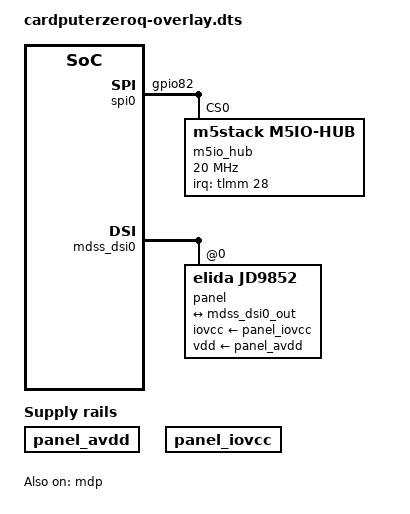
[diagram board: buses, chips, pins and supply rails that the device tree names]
/dts-v1/;
/plugin/;

#include <dt-bindings/gpio/gpio.h>
#include <dt-bindings/interrupt-controller/irq.h>

/ {
    fragment@0 {
        target = <&tlmm>;

        __overlay__ {
            qup_spi0_cs1_default_state: qup-spi0-cs1-default-state {
                pins = "gpio82";
                function = "gpio";
                drive-strength = <2>;
                bias-pull-up;
                output-high;
            };

            m5io_hub_irq_default_state: m5io-hub-irq-default-state {
                pins = "gpio28";
                function = "gpio";
                drive-strength = <2>;
                bias-pull-up;
                input-enable;
                output-disable;
            };

            tca8418_irq_default_state: tca8418-irq-default-state {
                /* SOC_GPIO_86_SE0 is a SoC GPIO, not an M5IO-HUB GPIO. */
                pins = "gpio86";
                function = "gpio";
                drive-strength = <2>;
                bias-pull-up;
                input-enable;
                output-disable;
            };
        };
    };

    fragment@1 {
        target = <&spi0>;

        __overlay__ {
            pinctrl-names = "default";
            pinctrl-0 = <&qup_spi0_default>,
                        <&qup_spi0_cs1_default_state>;
            num-cs = <2>;
            cs-gpios = <0>, <&tlmm 82 GPIO_ACTIVE_LOW>;
            #address-cells = <1>;
            #size-cells = <0>;
            status = "okay";

            /* The base DT already exposes SE0 CS0 as spidev@0.  Configure
             * that node in place so the overlay cannot create a second
             * device at SPI chip-select 0.
             */
            m5io_hub: spidev@0 {
                compatible = "m5stack,m5io-hub";
                reg = <0>;
                spi-max-frequency = <20000000>;
                spi-cs-setup-delay-ns = <10000>;
                spi-cs-inactive-delay-ns = <100000>;

                pinctrl-names = "default";
                pinctrl-0 = <&m5io_hub_irq_default_state>;
                interrupt-parent = <&tlmm>;
                interrupts = <28 IRQ_TYPE_LEVEL_LOW>;
                status = "okay";

                m5io_hub_gpio: gpio {
                    compatible = "m5stack,m5io-hub-gpio";
                    gpio-controller;
                    #gpio-cells = <2>;
                    interrupt-controller;
                    #interrupt-cells = <2>;
                    status = "okay";
                };

                /* CardputerZeroQ does not use the optional M5IO LED output. */
                m5io_hub_leds: leds {
                    compatible = "m5hub-gpio-leds";
                    status = "disabled";

                    grove-fun {
                        label = "grove_fun";
                        gpios = <&m5io_hub_gpio 1 GPIO_ACTIVE_HIGH>;
                        default-state = "off";
                    };
                };

                /* Enable these nodes when their transport drivers are ready. */
                m5io_hub_uart: serial {
                    compatible = "m5stack,m5io-hub-uart";
                    status = "disabled";
                };

                m5io_hub_i2c: i2c {
                    compatible = "m5stack,m5io-hub-i2c";
                    #address-cells = <1>;
                    #size-cells = <0>;
                    status = "okay";

                    m5io_i2c1: i2c@1 {
                        reg = <1>;
                        #address-cells = <1>;
                        #size-cells = <0>;
                        clock-frequency = <100000>;
                        status = "okay";

                        tca8418: keypad@34 {
                            compatible = "m5stack,tca8418c";
                            reg = <0x34>;
                            pinctrl-names = "default";
                            pinctrl-0 = <&tca8418_irq_default_state>;
                            interrupt-parent = <&tlmm>;
                            interrupts = <86 IRQ_TYPE_LEVEL_LOW>;
                            irq-gpios = <&tlmm 86 GPIO_ACTIVE_LOW>;
                            status = "okay";

                            keypad,num-rows = <5>;
                            keypad,num-columns = <10>;
                            sym-button-code = <0x43>;
                            fn-button-code = <0x42>;
                            shift-button-code = <0x41>;

                            /* This board has no TCA8418 LED indicators. */
                            /delete-property/ tables-sel-led-gpio;
                            /delete-property/ capslock-led-gpio;
                            /delete-property/ fn-led-gpio;
                            /delete-property/ tables-sel-led-mode;
                            /delete-property/ capslock-led-mode;
                            /delete-property/ fn-led-mode;

                            /* CardputerZero v5 keymaps. */
                            linux,keymap = <
                                0x04000001 /* KEY_ESC */
                                0x0409000f /* KEY_TAB */
                                0x04040002 /* KEY_1 */
                                0x00000003 /* KEY_2 */
                                0x00010004 /* KEY_3 */
                                0x00020005 /* KEY_4 */
                                0x00030006 /* KEY_5 */
                                0x00040007 /* KEY_6 */
                                0x00050008 /* KEY_7 */
                                0x00060009 /* KEY_8 */
                                0x0007000a /* KEY_9 */
                                0x0008000b /* KEY_0 */
                                0x0009000e /* KEY_BACKSPACE */
                                0x0403017f /* Sym */
                                0x01000010 /* KEY_Q */
                                0x01010011 /* KEY_W */
                                0x01020012 /* KEY_E */
                                0x01030013 /* KEY_R */
                                0x01040014 /* KEY_T */
                                0x01050015 /* KEY_Y */
                                0x01060016 /* KEY_U */
                                0x01070017 /* KEY_I */
                                0x01080018 /* KEY_O */
                                0x01090019 /* KEY_P */
                                0x0401002a /* KEY_LEFTSHIFT */
                                0x0200001e /* KEY_A */
                                0x0201001f /* KEY_S */
                                0x02020020 /* KEY_D */
                                0x02030021 /* KEY_F */
                                0x02040022 /* KEY_G */
                                0x02050023 /* KEY_H */
                                0x02060024 /* KEY_J */
                                0x02070025 /* KEY_K */
                                0x02080026 /* KEY_L */
                                0x0209001c /* KEY_ENTER */
                                0x04020185 /* Fn */
                                0x0300001d /* KEY_LEFTCTRL */
                                0x03010038 /* KEY_LEFTALT */
                                0x0302002c /* KEY_Z */
                                0x0303002d /* KEY_X */
                                0x0304002e /* KEY_C */
                                0x0305002f /* KEY_V */
                                0x03060030 /* KEY_B */
                                0x03070031 /* KEY_N */
                                0x03080032 /* KEY_M */
                                0x03090039 /* KEY_SPACE */
                            >;

                            linux,keymap1 = <
                                0x04000001 /* KEY_ESC */
                                0x0409000f /* KEY_TAB */
                                0x0404001a /* KEY_LEFTBRACE */
                                0x0000001b /* KEY_RIGHTBRACE */
                                0x00010027 /* KEY_SEMICOLON */
                                0x00020028 /* KEY_APOSTROPHE */
                                0x00030029 /* KEY_GRAVE */
                                0x0004002b /* KEY_BACKSLASH */
                                0x00050033 /* KEY_COMMA */
                                0x00060034 /* KEY_DOT */
                                0x00070035 /* KEY_SLASH */
                                0x0008005e /* KEY_MUHENKAN */
                                0x0009000e /* KEY_BACKSPACE */
                                0x0403017f /* Sym */
                                0x01000037 /* KEY_KPASTERISK */
                                0x01010045 /* KEY_NUMLOCK */
                                0x01020046 /* KEY_SCROLLLOCK */
                                0x01030047 /* KEY_KP7 */
                                0x01040048 /* KEY_KP8 */
                                0x01050049 /* KEY_KP9 */
                                0x0106004a /* KEY_KPMINUS */
                                0x0107004b /* KEY_KP4 */
                                0x0108004c /* KEY_KP5 */
                                0x0109004d /* KEY_KP6 */
                                0x0401004e /* KEY_KPPLUS */
                                0x0200004f /* KEY_KP1 */
                                0x02010050 /* KEY_KP2 */
                                0x02020051 /* KEY_KP3 */
                                0x02030000 /* F disabled */
                                0x02040052 /* KEY_KP0 */
                                0x02050053 /* KEY_KPDOT */
                                0x02060055 /* KEY_ZENKAKUHANKAKU */
                                0x02070056 /* KEY_102ND */
                                0x02080059 /* KEY_RO */
                                0x0209001c /* KEY_ENTER */
                                0x04020185 /* Fn */
                                0x0300001d /* KEY_LEFTCTRL */
                                0x03010038 /* KEY_LEFTALT */
                                0x03020000 /* Z disabled */
                                0x03030000 /* X disabled */
                                0x03040000 /* C disabled */
                                0x0305005a /* KEY_KATAKANA */
                                0x0306005b /* KEY_HIRAGANA */
                                0x0307005c /* KEY_HENKAN */
                                0x0308005d /* KEY_KATAKANAHIRAGANA */
                                0x03090039 /* KEY_SPACE */
                            >;

                            linux,keymap2 = <
                                0x04000001 /* KEY_ESC */
                                0x0409000f /* KEY_TAB */
                                0x0404003b /* KEY_F1 */
                                0x0000003c /* KEY_F2 */
                                0x0001003d /* KEY_F3 */
                                0x0002003e /* KEY_F4 */
                                0x0003003f /* KEY_F5 */
                                0x00040040 /* KEY_F6 */
                                0x00050041 /* KEY_F7 */
                                0x00060042 /* KEY_F8 */
                                0x00070043 /* KEY_F9 */
                                0x00080044 /* KEY_F10 */
                                0x0009006f /* KEY_DELETE */
                                0x0403017f /* Sym */
                                0x010000a4 /* KEY_PLAYPAUSE */
                                0x010100a5 /* KEY_PREVIOUSSONG */
                                0x010200a3 /* KEY_NEXTSONG */
                                0x01030013 /* KEY_R */
                                0x01040014 /* KEY_T */
                                0x01050015 /* KEY_Y */
                                0x010600e0 /* KEY_BRIGHTNESSDOWN */
                                0x010700e1 /* KEY_BRIGHTNESSUP */
                                0x01080057 /* KEY_F11 */
                                0x01090058 /* KEY_F12 */
                                0x0401002a /* KEY_LEFTSHIFT */
                                0x02000071 /* KEY_MUTE */
                                0x02010072 /* KEY_VOLUMEDOWN */
                                0x02020073 /* KEY_VOLUMEUP */
                                0x02030067 /* KEY_UP */
                                0x02040022 /* KEY_G */
                                0x0205008a /* KEY_HELP */
                                0x02060063 /* KEY_SYSRQ */
                                0x02070066 /* KEY_HOME */
                                0x02080068 /* KEY_PAGEUP */
                                0x0209001c /* KEY_ENTER */
                                0x04020185 /* Fn */
                                0x0300001d /* KEY_LEFTCTRL */
                                0x03010038 /* KEY_LEFTALT */
                                0x03020069 /* KEY_LEFT */
                                0x0303006c /* KEY_DOWN */
                                0x0304006a /* KEY_RIGHT */
                                0x0305002f /* KEY_V */
                                0x0306006e /* KEY_INSERT */
                                0x0307006b /* KEY_END */
                                0x0308006d /* KEY_PAGEDOWN */
                                0x03090039 /* KEY_SPACE */
                            >;
                        };
                    };

                    /* The keyboard is wired to I2C1 only. */
                    m5io_i2c2: i2c@2 {
                        reg = <2>;
                        #address-cells = <1>;
                        #size-cells = <0>;
                        clock-frequency = <100000>;
                        status = "disabled";
                    };
                };

                m5io_hub_spi: spi {
                    compatible = "m5stack,m5io-hub-spi";
                    #address-cells = <1>;
                    #size-cells = <0>;
                    status = "disabled";
                };
            };

            mmc-slot@1 {
                compatible = "mmc-spi-slot";
                reg = <1>;
                spi-max-frequency = <20000000>;
                voltage-ranges = <3300 3300>;
                bus-width = <1>;
                disable-wp;
                cd-gpios = <&m5io_hub_gpio 13 GPIO_ACTIVE_LOW>;
                status = "disabled";
            };
        };
    };

};

/* JD9852 MIPI-DSI panel configuration. */
/ {
fragment@2 {
    target-path = "/";

    __overlay__ {
        panel_avdd: regulator-panel-avdd {
            compatible = "regulator-fixed";
            regulator-name = "panel-avdd";
            regulator-always-on;
        };

        panel_iovcc: regulator-panel-iovcc {
            compatible = "regulator-fixed";
            regulator-name = "panel-iovcc";
            regulator-always-on;
        };
    };
};

fragment@3 {
    target = <&mdp>;

    __overlay__ {
        status = "okay";
    };
};

fragment@4 {
    target = <&mdss_dsi0>;

    __overlay__ {
        vdda-supply = <&pm4125_l5>;
        #address-cells = <1>;
        #size-cells = <0>;
        status = "okay";

        panel@0 {
            compatible = "elida,jd9852";
            reg = <0>;
            status = "okay";

            iovcc-supply = <&panel_iovcc>;
            vdd-supply = <&panel_avdd>;

            port {
                panel_in: endpoint {
                    remote-endpoint = <&mdss_dsi0_out>;
                };
            };
        };
    };
};

fragment@5 {
    target = <&mdss_dsi0_out>;

    __overlay__ {
        remote-endpoint = <&panel_in>;
        data-lanes = <0>;
    };
};

};
